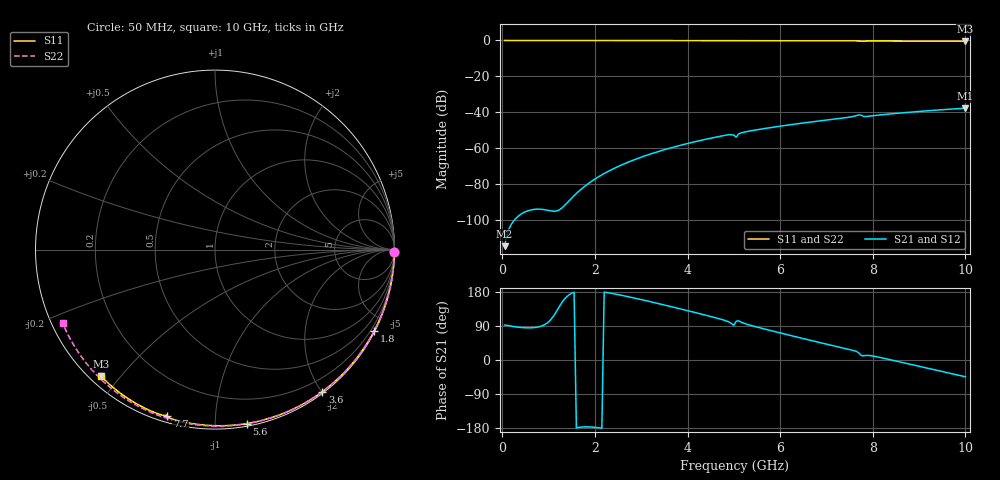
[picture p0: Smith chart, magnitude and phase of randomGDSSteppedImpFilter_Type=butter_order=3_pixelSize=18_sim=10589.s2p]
! freq	dB(S11)	phase(S11)	dB(S12)	phase(S12)
!  dB(S21)	phase(S21)	dB(S22)	phase(S22)
!S-par simulation data
#  GHz  S  DB  R 50
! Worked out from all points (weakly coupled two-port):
!   200 points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, 50 MHz to 10 GHz, reference 50 ohm
!   highest |S21| = -37.78 dB at 10 GHz (marker M1); lowest = -114.7 dB at 50 MHz (marker M2)
!   lowest |S11| = -0.5 dB at 10 GHz (marker M3), VSWR 38.23, Z = 1.57 - j22.2 ohm
!   |S11| at or under -10 dB: nowhere
!   |S22| runs from -0.5 to 0.0 dB; largest |S21 - S12| = 0
!   S11 on the Smith chart (normalised r, x): 50 MHz: open; 1.8 GHz: 0.04, -4.16; 3.6 GHz: 0.02, -2.01; 5.6 GHz: 0.02, -1.20; 7.7 GHz: 0.03, -0.75; 10 GHz: 0.03, -0.44
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0.05  -0.00 -0.8  -114.72 92.2  -114.72 92.2  -0.00 -0.9
0.9  -0.02 -13.7  -94.34 92.4  -94.34 92.4  -0.02 -16.0
1.75  -0.03 -26.3  -81.95 -176.6  -81.95 -176.6  -0.04 -30.8
1.8  -0.03 -27.0  -80.93 -176.4  -80.93 -176.4  -0.04 -31.7
1.85  -0.04 -27.8  -79.96 -176.5  -79.96 -176.5  -0.04 -32.6
2.15  -0.04 -32.2  -74.94 -180.0  -74.94 -180.0  -0.05 -37.7
2.55  -0.05 -38.0  -69.72 171.3  -69.72 171.3  -0.06 -44.5
2.95  -0.06 -43.7  -65.55 160.8  -65.55 160.8  -0.07 -51.1
3.4  -0.07 -50.1  -61.69 148.0  -61.69 148.0  -0.08 -58.5
3.6  -0.07 -52.9  -60.19 142.2  -60.19 142.2  -0.08 -61.7
4.85  -0.10 -69.9  -52.72 102.5  -52.72 102.5  -0.12 -81.3
5  -0.11 -71.9  -52.75 91.7  -52.75 91.7  -0.13 -83.6
5.05  -0.12 -72.5  -53.99 102.2  -53.99 102.2  -0.13 -84.3
5.1  -0.12 -73.1  -52.19 103.5  -52.19 103.5  -0.13 -85.1
5.15  -0.12 -73.8  -51.60 100.3  -51.60 100.3  -0.13 -85.8
5.6  -0.13 -79.6  -49.38 83.7  -49.38 83.7  -0.15 -92.5
6.7  -0.18 -93.5  -45.35 50.6  -45.35 50.6  -0.21 -108.4
7.45  -0.22 -102.7  -42.93 28.9  -42.93 28.9  -0.26 -119.0
7.7  -0.30 -106.0  -41.50 18.6  -41.50 18.6  -0.28 -122.4
7.85  -0.30 -107.0  -42.42 12.1  -42.42 12.1  -0.29 -124.5
8.35  -0.30 -113.0  -41.05 1.5  -41.05 1.5  -0.34 -131.4
10  -0.45 -132.1  -37.78 -44.2  -37.78 -44.2  -0.52 -154.2
